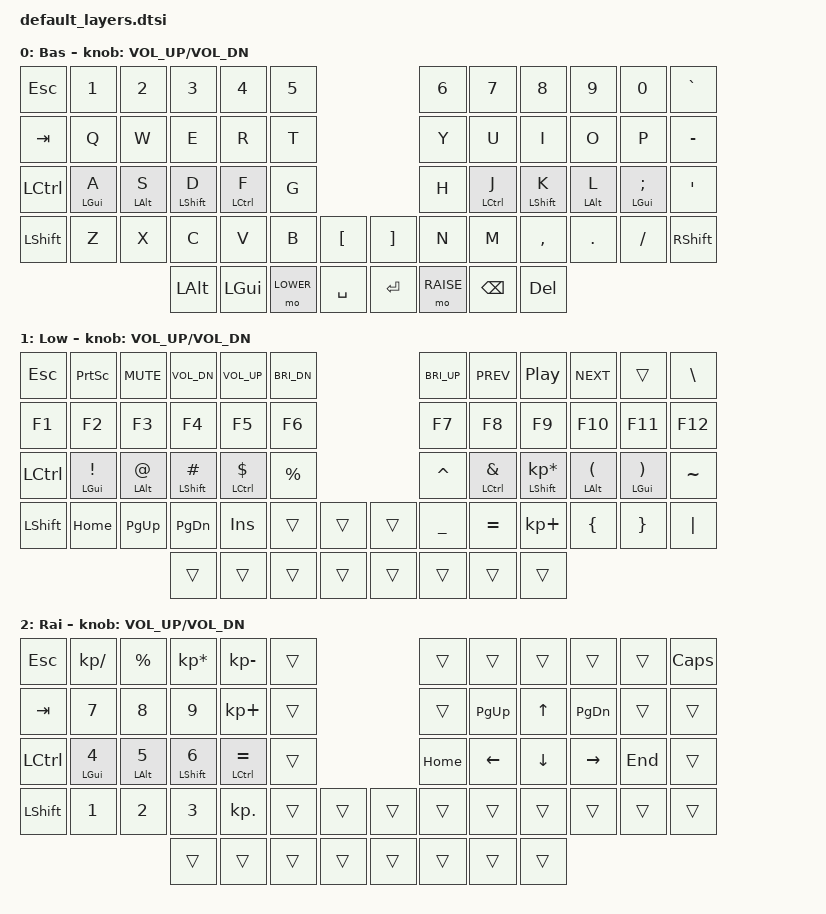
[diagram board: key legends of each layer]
#include <behaviors.dtsi>
#include <dt-bindings/zmk/keys.h>
#include <dt-bindings/zmk/bt.h>
#include <dt-bindings/zmk/ext_power.h>
#include <dt-bindings/zmk/rgb.h>

/ {

    keymap {
        compatible = "zmk,keymap";

        default_layer {
            display-name = "Bas";
            // | ESC       | 1              | 2            | 3                | 4                 | 5         |                          | 6         | 7               | 8                       | 9              | 0              | `         |
            // | TAB       | Q              | W            | E                | R                 | T         |                          | Y         | U               | I                       | O              | P              | -         |
            // | CTRL      | A/WIN          | S/ALT        | D/SHIFT          | F/CTRL            | G         |                          | H         | J/CTRL          | K/SHIFT                 | L/ALT          | ;/WIN          | '         |
            // | SHIFT     | Z              | X            | C                | V                 | B         | [         |   | ]        | N         | M               | ,                       | .              | /              | SHIFT     |
            //                                             | ALT              | WIN               | LOWER     | SPACE     |   | ENTER    | RAISE     | BSPC            | DEL                     |
            bindings = <
                 &kp ESC     &kp N1           &kp N2         &kp N3             &kp N4              &kp N5                                 &kp N6      &kp N7            &kp N8                    &kp N9           &kp N0           &kp GRAVE
                 &kp TAB     &kp Q            &kp W          &kp E              &kp R               &kp T                                  &kp Y       &kp U             &kp I                     &kp O            &kp P            &kp MINUS
                 &kp LCTRL   &hml LGUI A      &hml LALT S    &hml LSHIFT D      &hml LCTRL F        &kp G                                  &kp H       &hmr LCTRL J      &hmr LSHIFT K             &hmr LALT L      &hmr LGUI SEMI   &kp SQT
                 &kp LSHFT   &kp Z            &kp X          &kp C              &kp V               &kp B       &kp LBKT        &kp RBKT   &kp N       &kp M             &kp COMMA                 &kp DOT          &kp FSLH         &kp RSHFT
                                                             &kp LALT           &kp LGUI            &mo LOWER   &kp SPACE       &kp RET    &mo RAISE   &kp BSPC          &kp DEL
            >;

            sensor-bindings = <&inc_dec_kp C_VOL_UP C_VOL_DN>;
        };

        lower_layer {
            display-name = "Low";
            // | ESC       | PSCRN          | MUTE         | VOL-             | VOL+              | BRI-      |                          | BRI+      | PREV            | PLAY                    | NEXT           |                | \         |
            // | F1        | F2             | F3           | F4               | F5                | F6        |                          | F7        | F8              | F9                      | F10            | F11            | F12       |
            // | CTRL      | !/WIN          | @/ALT        | #/SHIFT          | $/CTRL            | %         |                          | ^         | &/CTRL          | */SHIFT                 | (/ALT          | )/WIN          | ~         |
            // | SHIFT     | HOME           | PG_UP        | PG_DN            | INS               |           |           |   |          | _         | =               | +                       | {              | }              | |         |
            //                                             |                  |                   |           |           |   |          |           |                 |                         |
            bindings = <
                 &kp ESC     &kp PSCRN        &kp C_MUTE     &kp C_VOL_DN       &kp C_VOL_UP        &kp C_BRI_DN                           &kp C_BRI_UP &kp C_PREV        &kp C_PP                  &kp C_NEXT       &trans           &kp BSLH
                 &kp F1      &kp F2           &kp F3         &kp F4             &kp F5              &kp F6                                 &kp F7       &kp F8            &kp F9                    &kp F10          &kp F11          &kp F12
                 &kp LCTRL   &hml LGUI EXCL   &hml LALT AT   &hml LSHIFT HASH   &hml LCTRL DOLLAR   &kp PRCNT                              &kp CARET    &hmr LCTRL AMPS   &hmr LSHIFT KP_MULTIPLY   &hmr LALT LPAR   &hmr LGUI RPAR   &kp TILDE
                 &kp LSHFT   &kp HOME         &kp PG_UP      &kp PG_DN          &kp INS             &trans      &trans          &trans     &kp UNDER    &kp EQUAL         &kp KP_PLUS               &kp LBRC         &kp RBRC         &kp PIPE
                                                             &trans             &trans              &trans      &trans          &trans     &trans      &trans            &trans
            >;

            sensor-bindings = <&inc_dec_kp C_VOL_UP C_VOL_DN>;
        };

        raise_layer {
            display-name = "Rai";
            // | ESC       | /              | %            | *                | -                 |           |                          |           |                 |                         |                |                | CAPS      |
            // | TAB       | 7              | 8            | 9                | +                 |           |                          |           | PG_UP           | UP                      | PG_DN          |                |           |
            // | CTRL      | 4/WIN          | 5/ALT        | 6/SHIFT          | =/CTRL            |           |                          | HOME      | LEFT            | DOWN                    | RIGHT          | END            |           |
            // | SHIFT     | 1              | 2            | 3                | .                 |           |           |   |          |           |                 |                         |                |                |           |
            //                                             |                  |                   |           |           |   |          |           |                 |                         |
            bindings = <
                 &kp ESC     &kp KP_DIVIDE    &kp PRCNT      &kp KP_MULTIPLY    &kp KP_MINUS        &trans                                 &trans      &trans            &trans                    &trans           &trans           &kp CAPS
                 &kp TAB     &kp N7           &kp N8         &kp N9             &kp KP_PLUS         &trans                                 &trans      &kp PG_UP         &kp UP                    &kp PG_DN        &trans           &trans
                 &kp LCTRL   &hml LGUI N4     &hml LALT N5   &hml LSHIFT N6     &hml LCTRL EQUAL    &trans                                 &kp HOME    &kp LEFT          &kp DOWN                  &kp RIGHT        &kp END          &trans
                 &kp LSHFT   &kp N1           &kp N2         &kp N3             &kp KP_DOT          &trans      &trans          &trans     &trans      &trans            &trans                    &trans           &trans           &trans
                                                             &trans             &trans              &trans      &trans          &trans     &trans      &trans            &trans
            >;

            sensor-bindings = <&inc_dec_kp C_VOL_UP C_VOL_DN>;
        };

    };
};
